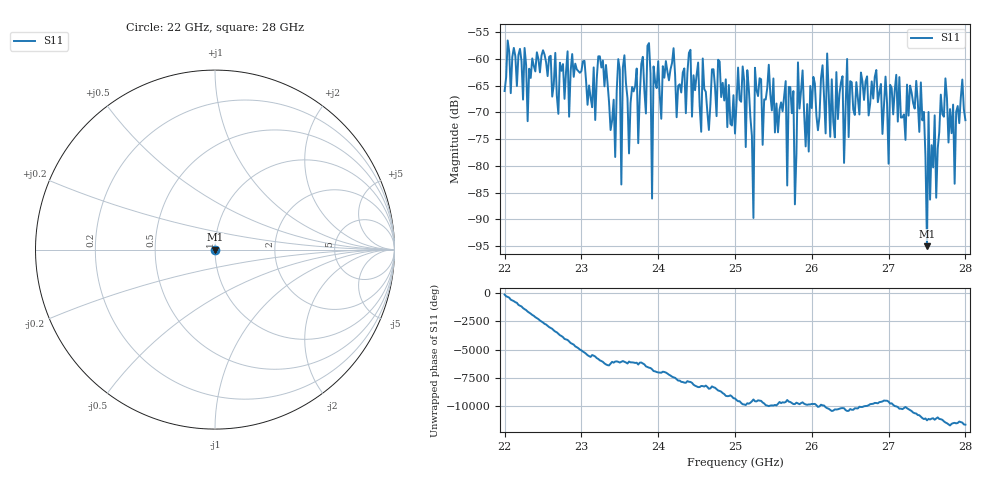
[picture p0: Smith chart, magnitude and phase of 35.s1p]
#  HZ  S  RI  R  50.00
! Rohde & Schwarz ZVA40 4Ports - Version 3.90 - 1145.1110k42 SN: 100403
! Date: 2023-10-04 08:00:06
! Measurement: S12
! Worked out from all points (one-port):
!   301 points, 22 GHz to 28 GHz, reference 50 ohm
!   lowest |S11| = -95.0 dB at 27.5 GHz (marker M1), VSWR 1.00, Z = 50 - j0.00171 ohm
!   |S11| at or under -10 dB: start of sweep to end of sweep
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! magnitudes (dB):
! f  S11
! 22 GHz  -66.0
! 22.76 GHz  -60.9
! 23.32 GHz  -61.1
! 23.44 GHz  -78.3
! 23.5 GHz  -62.0
! 23.52 GHz  -83.5
! 23.56 GHz  -59.3
! 23.62 GHz  -77.7
! 23.88 GHz  -57.0
! 23.92 GHz  -86.1
! 23.94 GHz  -61.4
! 24.26 GHz  -65.0
! 25 GHz  -74.0
! 25.44 GHz  -61.1
! 25.66 GHz  -64.1
! 25.68 GHz  -83.7
! 25.76 GHz  -66.0
! 25.78 GHz  -87.2
! 25.82 GHz  -60.6
! 26.18 GHz  -73.9
! 26.2 GHz  -59.0
! 26.24 GHz  -74.6
! 26.4 GHz  -63.2
! 26.42 GHz  -79.5
! 26.5 GHz  -64.1
! 27.26 GHz  -70.6
! 27.5 GHz  -95.0
! 28 GHz  -71.4
